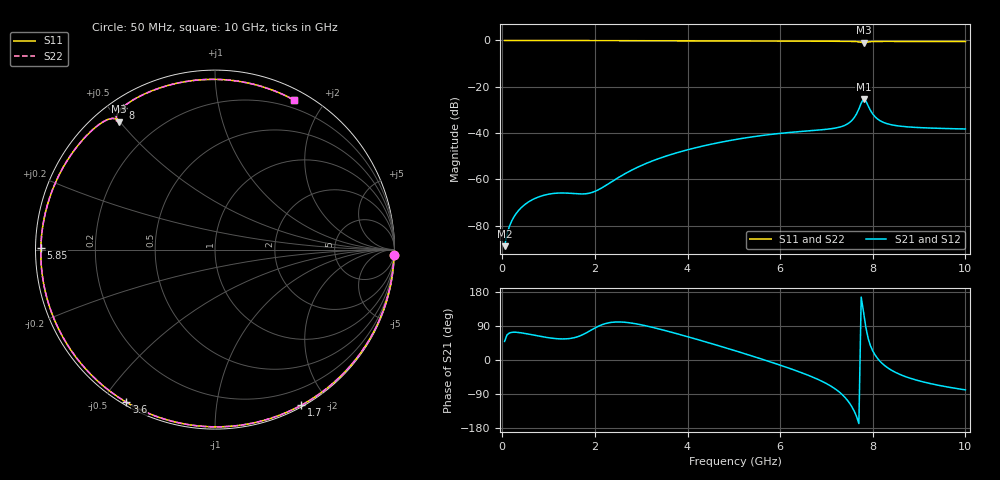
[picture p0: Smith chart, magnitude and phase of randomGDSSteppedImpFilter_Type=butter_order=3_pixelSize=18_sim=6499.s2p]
! freq	dB(S11)	phase(S11)	dB(S12)	phase(S12)
!  dB(S21)	phase(S21)	dB(S22)	phase(S22)
!S-par simulation data
#  GHz  S  DB  R 50
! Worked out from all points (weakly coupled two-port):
!   200 points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, 50 MHz to 10 GHz, reference 50 ohm
!   highest |S21| = -25.36 dB at 7.8 GHz (marker M1); lowest = -88.9 dB at 50 MHz (marker M2)
!   lowest |S11| = -1.0 dB at 7.8 GHz (marker M3), VSWR 17.41, Z = 3.58 + j24.8 ohm
!   |S11| at or under -10 dB: nowhere
!   |S22| runs from -1.0 to 0.0 dB; largest |S21 - S12| = 0
!   S11 on the Smith chart (normalised r, x): 50 MHz: 5, -61; 1.7 GHz: 0.02, -1.69; 3.6 GHz: 0.01, -0.58; 5.85 GHz: 0.02, +0.01; 8 GHz: 0.04, +0.54; 10 GHz: 0.11, +1.65
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0.05  -0.02 -1.9  -88.93 49.1  -88.93 49.1  -0.02 -1.9
0.15  -0.02 -5.6  -80.56 71.0  -80.56 71.0  -0.02 -5.6
0.4  -0.03 -14.8  -72.48 71.8  -72.48 71.8  -0.03 -14.8
0.75  -0.04 -27.6  -67.92 64.0  -67.92 64.0  -0.04 -27.6
1.15  -0.05 -42.0  -66.06 56.5  -66.06 56.5  -0.05 -42.0
1.7  -0.08 -61.1  -66.36 64.8  -66.36 64.8  -0.08 -61.1
1.75  -0.08 -62.8  -66.35 67.6  -66.35 67.6  -0.08 -62.8
2.05  -0.09 -72.8  -64.80 87.6  -64.80 87.6  -0.09 -72.7
2.55  -0.11 -88.8  -58.76 100.3  -58.76 100.3  -0.11 -88.8
3.4  -0.14 -114.4  -50.92 81.4  -50.92 81.4  -0.14 -114.3
3.6  -0.15 -120.1  -49.59 75.0  -49.59 75.0  -0.15 -120.1
4.35  -0.18 -140.9  -45.57 49.3  -45.57 49.3  -0.18 -140.9
5.05  -0.21 -159.6  -42.79 23.7  -42.79 23.7  -0.21 -159.6
5.85  -0.26 179.4  -40.51 -7.5  -40.51 -7.5  -0.26 179.4
6.7  -0.32 156.8  -38.95 -45.0  -38.95 -45.0  -0.32 156.9
7.45  -0.40 135.9  -36.15 -105.9  -36.15 -105.9  -0.40 136.0
7.6  -0.48 131.2  -33.35 -135.1  -33.35 -135.1  -0.48 131.3
7.8  -1.00 127.0  -25.36 127.4  -25.36 127.4  -0.99 127.1
8  -0.50 123.0  -31.85 23.9  -31.85 23.9  -0.50 123.1
8.35  -0.43 112.1  -36.22 -22.9  -36.22 -22.9  -0.43 112.1
9.15  -0.46 88.1  -37.81 -59.6  -37.81 -59.6  -0.46 88.1
10  -0.51 62.1  -38.28 -78.8  -38.28 -78.8  -0.51 62.2
